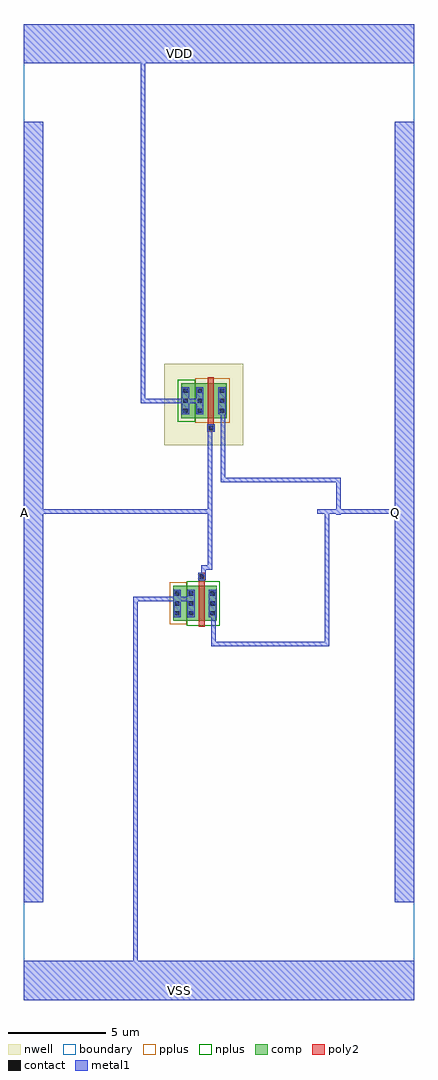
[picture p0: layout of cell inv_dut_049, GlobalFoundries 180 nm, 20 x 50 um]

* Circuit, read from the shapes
.subckt inv_dut_049 A Q VDD VSS
XM1 Q A VSS VSS nfet_03v3 w=1.8u l=0.3u
XM2 Q A VDD VDD pfet_03v3 w=1.8u l=0.3u
.ends

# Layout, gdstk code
from math import pi, radians
import gdstk
lib = gdstk.Library(unit=1e-6, precision=1e-09)
def R(c, l, rs):  # rectangles x0, y0, x1, y1
    for r in rs: c.add(gdstk.rectangle(r[:2], r[2:], *l))
def A(c, l, x, y, w, h, nx, ny, dx, dy):  # array of equal rectangles
    R(c, l, [(x+i*dx, y+j*dy, x+i*dx+w, y+j*dy+h) for i in range(nx) for j in range(ny)])
def P(c, l, *ps):  # polygons
    for p in ps: c.add(gdstk.Polygon(p, *l))
boundary = (0, 0)
nwell = (21, 0)
comp = (22, 0)
poly2 = (30, 0)
pplus = (31, 0)
nplus = (32, 0)
contact = (33, 0)
metal1 = (34, 0)

nfet = lib.new_cell('nfet')
R(nfet, comp, [(-0.42,0,1.81,1.8)])
P(nfet, poly2, [(0.19,-0.3),(0.19,2.1),(0.16,2.1),(0.16,2.46),(0.52,2.46),(0.52,2.1),(0.49,2.1),(0.49,-0.3)])
R(nfet, pplus, [(1.1,-0.17,1.98,1.97)])
R(nfet, nplus, [(-0.59,-0.24,1.1,2.04)])
A(nfet, contact, -0.32, 0.28, 0.22, 0.22, 1, 3, 0, 0.51)
A(nfet, contact, 0.78, 0.28, 0.22, 0.22, 1, 3, 0, 0.51)
A(nfet, contact, 1.49, 0.28, 0.22, 0.22, 1, 3, 0, 0.51)
R(nfet, contact, [(0.23,2.17,0.45,2.39)])
R(nfet, metal1, [(-0.4,0.2,-0.02,1.6), (0.7,0.2,1.08,1.6), (1.41,0.2,1.79,1.6), (0.15,2.09,0.53,2.47)])

pfet = lib.new_cell('pfet')
R(pfet, nwell, [(-1.32,-0.99,2.73,3.17)])
R(pfet, comp, [(-0.46,0,1.87,1.8)])
P(pfet, poly2, [(0.19,-0.3),(0.19,2.1),(0.15,2.1),(0.15,2.48),(0.53,2.48),(0.53,2.1),(0.49,2.1),(0.49,-0.3)])
R(pfet, pplus, [(-0.63,-0.24,1.14,2.04)])
R(pfet, nplus, [(1.14,-0.17,2.04,1.97)])
A(pfet, contact, -0.34, 0.28, 0.22, 0.22, 1, 3, 0, 0.51)
A(pfet, contact, 0.8, 0.28, 0.22, 0.22, 1, 3, 0, 0.51)
A(pfet, contact, 1.53, 0.28, 0.22, 0.22, 1, 3, 0, 0.51)
R(pfet, contact, [(0.23,2.18,0.45,2.4)])
R(pfet, metal1, [(-0.42,0.2,-0.04,1.6), (0.72,0.2,1.1,1.6), (1.45,0.2,1.83,1.6), (0.15,2.1,0.53,2.48)])

inv_dut_049 = lib.new_cell('inv_dut_049')
R(inv_dut_049, boundary, [(-10,-25,10,25)])
R(inv_dut_049, metal1, [(-10,-25,10,-23), (-10,-20,-9,20), (9,-20,10,20), (-10,23,10,25)])
inv_dut_049.add(gdstk.FlexPath([(-0.45,4.365),(-0.45,-2.855),(-0.805,-2.855),(-0.805,-3.34)], 0.23, ends="flush", simple_path=True, layer=34, datatype=0))  # metal1
inv_dut_049.add(gdstk.FlexPath([(-0.29,-4.545),(-0.29,-6.765),(5.535,-6.765),(5.535,0),(5.535,0)], 0.23, ends="flush", simple_path=True, layer=34, datatype=0))  # metal1
inv_dut_049.add(gdstk.FlexPath([(-1.27,-4.455),(-4.29,-4.455),(-4.29,-23.225)], 0.23, ends="flush", simple_path=True, layer=34, datatype=0))  # metal1
inv_dut_049.add(gdstk.FlexPath([(-0.92,5.69),(-3.9,5.69),(-3.9,23.62)], 0.23, ends="flush", simple_path=True, layer=34, datatype=0))  # metal1
inv_dut_049.add(gdstk.FlexPath([(0.195,5.76),(0.195,1.63),(6.125,1.63),(6.125,-0.14)], 0.23, ends="flush", simple_path=True, layer=34, datatype=0))  # metal1
inv_dut_049.add(gdstk.FlexPath([(-0.45,0.025),(-9.41,0.025)], 0.23, ends="flush", simple_path=True, layer=34, datatype=0))  # metal1
inv_dut_049.add(gdstk.FlexPath([(5.03,0.035),(9.19,0.035)], 0.23, ends="flush", simple_path=True, layer=34, datatype=0))  # metal1
inv_dut_049.add(gdstk.Reference(nfet, (-0.54,-5.58), rotation=pi, x_reflection=True))
inv_dut_049.add(gdstk.Reference(pfet, (-0.075,6.6), rotation=pi))
inv_dut_049.add(gdstk.Label('VDD', (-2,23.5), layer=34, texttype=10))
inv_dut_049.add(gdstk.Label('VSS', (-2,-24.5), layer=34, texttype=10))
inv_dut_049.add(gdstk.Label('A', (-9.97,0), layer=34, texttype=10))
inv_dut_049.add(gdstk.Label('Q', (9.03,0), layer=34, texttype=10))

lib.write_gds('inv_dut_049.gds')
